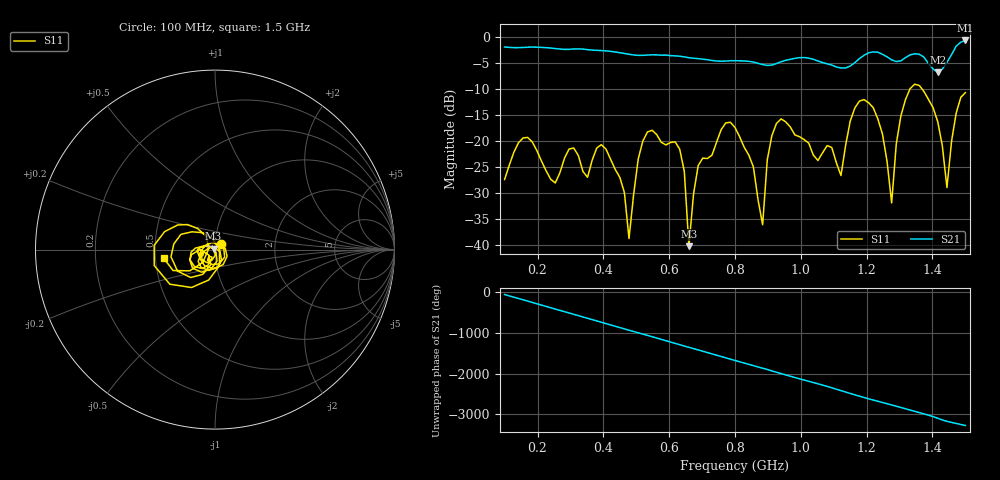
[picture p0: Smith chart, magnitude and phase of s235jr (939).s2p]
! NanoVNA-App
! Date: 2025-09-25 15:11:28
! Start: 100MHz Stop: 1,5GHz Points: 101
! S-Parameter data: F S11 S21 S12 S22
# Hz S RI R 50
!  Frequency  S11_Real  S11_Imag  S21_Real  S21_Imag  S12_Real  S12_Imag  S22_Real  S22_Imag
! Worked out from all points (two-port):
!   101 points, 100 MHz to 1.5 GHz, reference 50 ohm
!   highest |S21| = -0.70 dB at 1.5 GHz (marker M1); lowest = -6.9 dB at 1.416 GHz (marker M2)
!   |S21| within 3 dB of the highest: start of sweep to 625.1 MHz; 1.189 GHz to 1.258 GHz (68.66 MHz wide, 5.61 % of centre) (the widest 2 of 4)
!   lowest |S11| = -40.3 dB at 660 MHz (marker M3), VSWR 1.02, Z = 49.2 + j0.552 ohm
!   |S11| at or under -10 dB: start of sweep to 1.332 GHz; 1.368 GHz to end of sweep
!   S12 and S22 are empty: the file has one direction only
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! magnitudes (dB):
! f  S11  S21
! 100 MHz  -27.5  -2.0
! 170 MHz  -19.4  -2.0
! 338 MHz  -25.9  -2.4
! 408 MHz  -21.6  -2.7
! 478 MHz  -38.8  -3.4
! 520 MHz  -20.1  -3.6
! 576 MHz  -20.3  -3.5
! 632 MHz  -21.6  -3.7
! 660 MHz  -40.3  -4.0
! 688 MHz  -24.8  -4.2
! 800 MHz  -17.5  -4.6
! 884 MHz  -36.2  -5.3
! 926 MHz  -16.7  -5.1
! 1.038 GHz  -22.8  -4.3
! 1.122 GHz  -26.7  -6.0
! 1.192 GHz  -12.1  -3.6
! 1.248 GHz  -18.7  -3.4
! 1.276 GHz  -32.0  -4.4
! 1.332 GHz  -10.0  -3.5
! 1.416 GHz  -16.3  -6.9
! 1.444 GHz  -29.0  -4.9
! 1.5 GHz  -10.7  -0.7
